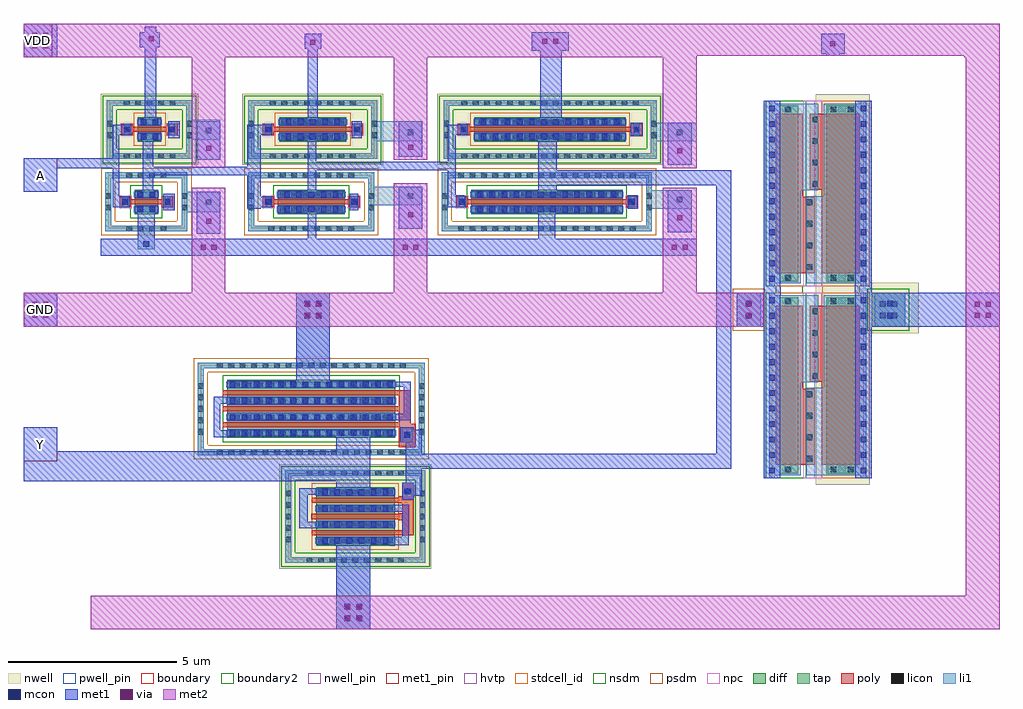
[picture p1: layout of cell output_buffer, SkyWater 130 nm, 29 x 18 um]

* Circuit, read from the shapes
.subckt output_buffer A GND VDD Y
XM1 sky130_fd_pr__nfet_01v8_24CRNP_3/D A GND GND sky130_fd_pr__nfet_01v8 w=0.7 l=0.15
XM2 GND sky130_fd_pr__nfet_01v8_JPVZFC_7/D Y GND sky130_fd_pr__nfet_01v8 w=5 l=0.15 m=3
XM3 sky130_fd_pr__nfet_01v8_NK2ZG9_5/D sky130_fd_pr__nfet_01v8_24CRNP_3/D GND GND sky130_fd_pr__nfet_01v8 w=2 l=0.15
XM4 sky130_fd_pr__nfet_01v8_JPVZFC_7/D sky130_fd_pr__nfet_01v8_NK2ZG9_5/D GND GND sky130_fd_pr__nfet_01v8 w=4.5 l=0.15
XM5 GND VDD GND GND sky130_fd_pr__nfet_01v8 w=0.55 l=4.73 m=2
XM6 VDD A sky130_fd_pr__nfet_01v8_24CRNP_3/D VDD sky130_fd_pr__pfet_01v8 w=0.7 l=0.15
XM7 VDD sky130_fd_pr__nfet_01v8_24CRNP_3/D sky130_fd_pr__nfet_01v8_NK2ZG9_5/D VDD sky130_fd_pr__pfet_01v8 w=2 l=0.15
XM8 Y sky130_fd_pr__nfet_01v8_JPVZFC_7/D VDD VDD sky130_fd_pr__pfet_01v8 w=2.33 l=0.15 m=3
XM9 VDD sky130_fd_pr__nfet_01v8_NK2ZG9_5/D sky130_fd_pr__nfet_01v8_JPVZFC_7/D VDD sky130_fd_pr__pfet_01v8 w=4.5 l=0.15
XM10 VDD GND VDD VDD sky130_fd_pr__pfet_01v8_hvt w=0.87 l=4.73 m=2
.ends

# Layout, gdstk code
from math import pi, radians
import gdstk
lib = gdstk.Library(unit=1e-6, precision=1e-09)
def R(c, l, rs):  # rectangles x0, y0, x1, y1
    for r in rs: c.add(gdstk.rectangle(r[:2], r[2:], *l))
def A(c, l, x, y, w, h, nx, ny, dx, dy):  # array of equal rectangles
    R(c, l, [(x+i*dx, y+j*dy, x+i*dx+w, y+j*dy+h) for i in range(nx) for j in range(ny)])
def P(c, l, *ps):  # polygons
    for p in ps: c.add(gdstk.Polygon(p, *l))
nwell_pin = (64, 16)
nwell = (64, 20)
diff = (65, 20)
tap = (65, 44)
poly = (66, 20)
licon = (66, 44)
li1 = (67, 20)
mcon = (67, 44)
met1_pin = (68, 16)
met1 = (68, 20)
via = (68, 44)
met2 = (69, 20)
hvtp = (78, 44)
stdcell_id = (81, 4)
nsdm = (93, 44)
psdm = (94, 20)
npc = (95, 20)
pwell_pin = (122, 16)
boundary = (235, 4)
boundary2 = (236, 0)

sky130_fd_pr__nfet_01v8_ = lib.new_cell('sky130_fd_pr__nfet_01v8_EUVAEG')
R(sky130_fd_pr__nfet_01v8_, diff, [(-0.865,-2.5,0.865,2.5)])
R(sky130_fd_pr__nfet_01v8_, tap, [(-1.375,-3.37,1.375,-3.2), (-1.375,-3.2,-1.205,3.2), (1.205,-3.2,1.375,3.2), (-1.375,3.2,1.375,3.37)])
A(sky130_fd_pr__nfet_01v8_, poly, -0.555, -2.6, 0.15, 5.23, 3, 1, 0.48, 0)
R(sky130_fd_pr__nfet_01v8_, poly, [(-1.145,-3.1,-0.445,-2.95), (-1.145,-2.95,0.555,-2.6)])
A(sky130_fd_pr__nfet_01v8_, licon, -0.765, -3.37, 0.17, 0.17, 5, 2, 0.34, 6.57)
A(sky130_fd_pr__nfet_01v8_, licon, -1.375, -2.805, 0.17, 0.17, 1, 17, 0, 0.34)
A(sky130_fd_pr__nfet_01v8_, licon, 1.205, -2.805, 0.17, 0.17, 1, 17, 0, 0.34)
A(sky130_fd_pr__nfet_01v8_, licon, -0.805, -2.295, 0.17, 0.17, 4, 14, 0.48, 0.34)
R(sky130_fd_pr__nfet_01v8_, licon, [(-0.855,-2.935,-0.685,-2.765)])
A(sky130_fd_pr__nfet_01v8_, li1, -0.805, -2.52, 0.17, 5.04, 4, 1, 0.48, 0)
R(sky130_fd_pr__nfet_01v8_, li1, [(-1.375,-3.37,1.375,-3.2), (-1.375,-3.2,-1.205,3.2), (1.205,-3.2,1.375,3.2), (-0.995,-3,-0.545,-2.7), (-1.375,3.2,1.375,3.37)])
A(sky130_fd_pr__nfet_01v8_, mcon, -0.805, -2.425, 0.17, 0.17, 4, 14, 0.48, 0.36)
R(sky130_fd_pr__nfet_01v8_, mcon, [(-0.855,-2.935,-0.685,-2.765)])
A(sky130_fd_pr__nfet_01v8_, met1, -0.835, -2.5, 0.23, 5, 4, 1, 0.48, 0)
R(sky130_fd_pr__nfet_01v8_, met1, [(-0.995,-3.05,-0.545,-2.65), (-0.345,-2.95,0.805,-2.75), (-0.345,-2.75,-0.145,-2.5), (0.655,-2.75,0.805,-2.5), (-0.845,2.5,-0.645,2.7), (0.155,2.5,0.355,2.7), (-0.845,2.7,0.355,2.9)])
R(sky130_fd_pr__nfet_01v8_, nsdm, [(-0.99,-2.625,0.99,2.625)])
R(sky130_fd_pr__nfet_01v8_, psdm, [(-1.5,-3.495,1.5,-3.075), (-1.5,-3.075,-1.08,3.075), (1.08,-3.075,1.5,3.075), (-1.5,3.075,1.5,3.495)])
R(sky130_fd_pr__nfet_01v8_, npc, [(-0.955,-3.035,-0.585,-2.665)])
R(sky130_fd_pr__nfet_01v8_, boundary, [(-1.29,-3.285,1.29,3.285)])
sky130_fd_pr__nfet_01v8_.add(gdstk.Label('B', (0,-3.285), layer=67, texttype=5))
sky130_fd_pr__nfet_01v8_.add(gdstk.Label('D0', (-0.72,0), layer=67, texttype=5))
sky130_fd_pr__nfet_01v8_.add(gdstk.Label('S1', (-0.24,0), layer=67, texttype=5))
sky130_fd_pr__nfet_01v8_.add(gdstk.Label('D2', (0.24,0), layer=67, texttype=5))
sky130_fd_pr__nfet_01v8_.add(gdstk.Label('S2', (0.72,0), layer=67, texttype=5))

sky130_fd_pr__pfet_01v8_ = lib.new_cell('sky130_fd_pr__pfet_01v8_FRYS2W')
R(sky130_fd_pr__pfet_01v8_, nwell, [(-1.555,-2.26,1.555,2.26)])
R(sky130_fd_pr__pfet_01v8_, diff, [(-0.865,-1.165,0.865,1.165)])
R(sky130_fd_pr__pfet_01v8_, tap, [(-1.375,-2.08,1.375,-1.91), (-1.375,-1.91,-1.205,1.91), (1.205,-1.91,1.375,1.91), (-1.375,1.91,1.375,2.08)])
R(sky130_fd_pr__pfet_01v8_, poly, [(-0.555,-1.74,0.995,-1.39), (-0.555,-1.39,-0.405,1.295), (-0.105,-1.39,0.095,-1.29), (0.395,-1.39,0.595,-1.29), (-0.075,-1.29,0.075,1.31), (0.405,-1.29,0.555,1.295)])
A(sky130_fd_pr__pfet_01v8_, licon, -0.765, -2.08, 0.17, 0.17, 5, 2, 0.34, 3.99)
A(sky130_fd_pr__pfet_01v8_, licon, -1.375, -1.445, 0.17, 0.17, 1, 9, 0, 0.34)
A(sky130_fd_pr__pfet_01v8_, licon, 1.205, -1.445, 0.17, 0.17, 1, 9, 0, 0.34)
A(sky130_fd_pr__pfet_01v8_, licon, -0.805, -1.105, 0.17, 0.17, 4, 7, 0.48, 0.34)
R(sky130_fd_pr__pfet_01v8_, licon, [(0.665,-1.665,0.835,-1.495)])
A(sky130_fd_pr__pfet_01v8_, li1, -0.805, -1.185, 0.17, 2.37, 4, 1, 0.48, 0)
R(sky130_fd_pr__pfet_01v8_, li1, [(-1.375,-2.08,1.375,-1.91), (-1.375,-1.91,-1.205,1.91), (1.205,-1.91,1.375,1.91), (0.495,-1.74,0.995,-1.39), (-1.375,1.91,1.375,2.08)])
A(sky130_fd_pr__pfet_01v8_, mcon, -0.805, -0.985, 0.17, 0.17, 4, 6, 0.48, 0.36)
R(sky130_fd_pr__pfet_01v8_, mcon, [(0.66,-1.625,0.83,-1.455)])
R(sky130_fd_pr__pfet_01v8_, met1, [(0.495,-1.74,0.995,-1.39), (-0.855,-1.59,0.345,-1.39), (-0.855,-1.39,-0.605,-1.04), (0.145,-1.39,0.345,-1.165), (-0.355,-1.165,-0.125,1.165), (0.125,-1.165,0.355,1.165), (0.605,-1.165,0.835,1.16), (-0.835,-1.04,-0.605,1.165), (0.605,1.16,0.845,1.165), (-0.355,1.165,-0.155,1.41), (0.645,1.165,0.845,1.41), (-0.355,1.41,0.845,1.66)])
R(sky130_fd_pr__pfet_01v8_, nsdm, [(-1.5,-2.205,1.5,-1.785), (-1.5,-1.785,-1.08,1.785), (1.08,-1.785,1.5,1.785), (-1.5,1.785,1.5,2.205)])
R(sky130_fd_pr__pfet_01v8_, psdm, [(-0.99,-1.29,0.99,1.29)])
R(sky130_fd_pr__pfet_01v8_, npc, [(0.565,-1.765,0.935,-1.395)])
R(sky130_fd_pr__pfet_01v8_, boundary, [(-1.29,-1.995,1.29,1.995)])
sky130_fd_pr__pfet_01v8_.add(gdstk.Label('B', (0,-1.995), layer=67, texttype=5))
sky130_fd_pr__pfet_01v8_.add(gdstk.Label('D0', (-0.72,0), layer=67, texttype=5))
sky130_fd_pr__pfet_01v8_.add(gdstk.Label('S1', (-0.24,0), layer=67, texttype=5))
sky130_fd_pr__pfet_01v8_.add(gdstk.Label('D2', (0.24,0), layer=67, texttype=5))
sky130_fd_pr__pfet_01v8_.add(gdstk.Label('S2', (0.72,0), layer=67, texttype=5))

sky130_fd_sc_hd__decap_1 = lib.new_cell('sky130_fd_sc_hd__decap_12')
R(sky130_fd_sc_hd__decap_1, nwell_pin, [(0.145,2.635,0.315,2.805)])
R(sky130_fd_sc_hd__decap_1, nwell, [(-0.19,1.305,5.71,2.91)])
R(sky130_fd_sc_hd__decap_1, diff, [(0.135,0.235,5.385,0.785), (0.135,1.615,5.385,2.485)])
P(sky130_fd_sc_hd__decap_1, poly, [(5.125,2.615),(0.395,2.615),(0.395,1.125),(2.645,1.125),(2.645,1.485),(5.125,1.485)],
  [(5.125,1.275),(2.855,1.275),(2.855,0.915),(0.395,0.915),(0.395,0.105),(5.125,0.105)])
A(sky130_fd_sc_hd__decap_1, licon, 2.935, 1.025, 0.17, 0.17, 4, 1, 0.64, 0)
A(sky130_fd_sc_hd__decap_1, licon, 0.475, 1.205, 0.17, 0.17, 4, 1, 0.64, 0)
R(sky130_fd_sc_hd__decap_1, licon, [(0.175,0.39,0.345,0.56), (5.175,0.39,5.345,0.56), (0.175,1.745,0.345,1.915), (5.175,1.745,5.345,1.915), (0.175,2.255,0.345,2.425), (5.175,2.255,5.345,2.425)])
P(sky130_fd_sc_hd__decap_1, li1, [(5.52,0.085),(5.43,0.085),(5.43,0.855),(2.665,0.855),(2.665,1.375),(0.085,1.375),(0.085,0.085),(0,0.085),(0,-0.085),(5.52,-0.085)],
  [(5.52,2.805),(0,2.805),(0,2.635),(0.085,2.635),(0.085,1.545),(2.835,1.545),(2.835,1.025),(5.43,1.025),(5.43,2.635),(5.52,2.635)])
A(sky130_fd_sc_hd__decap_1, mcon, 0.145, -0.085, 0.17, 0.17, 12, 2, 0.46, 2.72)
R(sky130_fd_sc_hd__decap_1, met1_pin, [(0.145,-0.085,0.315,0.085), (0.145,2.635,0.315,2.805)])
R(sky130_fd_sc_hd__decap_1, hvtp, [(0,1.25,5.52,2.72)])
R(sky130_fd_sc_hd__decap_1, stdcell_id, [(0,0,5.52,2.72)])
R(sky130_fd_sc_hd__decap_1, nsdm, [(0,-0.19,5.52,1.015)])
R(sky130_fd_sc_hd__decap_1, psdm, [(0,1.485,5.52,2.91)])
R(sky130_fd_sc_hd__decap_1, npc, [(0,0.925,5.52,1.475)])
R(sky130_fd_sc_hd__decap_1, pwell_pin, [(0.145,-0.085,0.315,0.085)])
R(sky130_fd_sc_hd__decap_1, boundary2, [(0,0,5.52,2.72)])
sky130_fd_sc_hd__decap_1.add(gdstk.FlexPath([(0,2.72),(5.52,2.72)], 0.48, ends="flush", simple_path=True, layer=68, datatype=20))  # met1
sky130_fd_sc_hd__decap_1.add(gdstk.FlexPath([(0,0),(5.52,0)], 0.48, ends="flush", simple_path=True, layer=68, datatype=20))  # met1
sky130_fd_sc_hd__decap_1.add(gdstk.Label('VGND', (0.23,0), layer=68, texttype=5))
sky130_fd_sc_hd__decap_1.add(gdstk.Label('VPWR', (0.23,2.72), layer=68, texttype=5))
sky130_fd_sc_hd__decap_1.add(gdstk.Label('VPB', (0.23,2.72), layer=64, texttype=5))
sky130_fd_sc_hd__decap_1.add(gdstk.Label('VNB', (0.23,0), layer=64, texttype=59))
sky130_fd_sc_hd__decap_1.add(gdstk.Label('decap_12', (0,0), layer=83, texttype=44))

c_sky130_fd_pr__nfet_01v8_ = lib.new_cell('sky130_fd_pr__nfet_01v8_24CRNP')
R(c_sky130_fd_pr__nfet_01v8_, diff, [(-0.365,-0.35,0.365,0.35)])
R(c_sky130_fd_pr__nfet_01v8_, tap, [(-0.875,-1.22,0.875,-1.05), (-0.875,-1.05,-0.705,1.05), (0.705,-1.05,0.875,1.05), (-0.875,1.05,0.875,1.22)])
R(c_sky130_fd_pr__nfet_01v8_, poly, [(-0.165,-0.79,0.165,-0.46), (-0.075,-0.46,0.075,0.46), (-0.165,0.46,0.165,0.79)])
A(c_sky130_fd_pr__nfet_01v8_, licon, -0.875, -0.595, 0.17, 0.17, 1, 4, 0, 0.34)
A(c_sky130_fd_pr__nfet_01v8_, licon, 0.705, -0.595, 0.17, 0.17, 1, 4, 0, 0.34)
R(c_sky130_fd_pr__nfet_01v8_, licon, [(-0.255,-1.22,-0.085,-1.05), (0.085,-1.22,0.255,-1.05), (-0.085,-0.71,0.085,-0.54), (-0.305,-0.255,-0.135,-0.085), (0.135,-0.255,0.305,-0.085), (-0.305,0.085,-0.135,0.255), (0.135,0.085,0.305,0.255), (-0.085,0.54,0.085,0.71), (-0.255,1.05,-0.085,1.22), (0.085,1.05,0.255,1.22)])
R(c_sky130_fd_pr__nfet_01v8_, li1, [(-0.875,-1.22,0.875,-1.05), (-0.875,-1.05,-0.705,1.05), (0.705,-1.05,0.875,1.05), (-0.165,-0.71,0.165,-0.54), (-0.305,-0.37,-0.135,0.37), (0.135,-0.37,0.305,0.37), (-0.165,0.54,0.165,0.71), (-0.875,1.05,0.875,1.22)])
R(c_sky130_fd_pr__nfet_01v8_, mcon, [(-0.085,-0.71,0.085,-0.54), (-0.305,-0.265,-0.135,-0.095), (0.135,-0.265,0.305,-0.095), (-0.305,0.095,-0.135,0.265), (0.135,0.095,0.305,0.265), (-0.085,0.54,0.085,0.71)])
R(c_sky130_fd_pr__nfet_01v8_, met1, [(-0.145,-0.74,0.145,-0.51), (-0.335,-0.35,-0.105,0.35), (0.105,-0.35,0.335,0.35), (-0.145,0.51,0.145,0.74)])
R(c_sky130_fd_pr__nfet_01v8_, nsdm, [(-0.49,-0.475,0.49,0.475)])
R(c_sky130_fd_pr__nfet_01v8_, psdm, [(-1,-1.345,1,-0.925), (-1,-0.925,-0.58,0.925), (0.58,-0.925,1,0.925), (-1,0.925,1,1.345)])
R(c_sky130_fd_pr__nfet_01v8_, npc, [(-0.185,-0.81,0.185,-0.44), (-0.185,0.44,0.185,0.81)])
R(c_sky130_fd_pr__nfet_01v8_, boundary, [(-0.79,-1.135,0.79,1.135)])
c_sky130_fd_pr__nfet_01v8_.add(gdstk.Label('B', (0,-1.135), layer=67, texttype=5))
c_sky130_fd_pr__nfet_01v8_.add(gdstk.Label('D', (-0.22,0), layer=67, texttype=5))
c_sky130_fd_pr__nfet_01v8_.add(gdstk.Label('S', (0.22,0), layer=67, texttype=5))
c_sky130_fd_pr__nfet_01v8_.add(gdstk.Label('G', (0,0.625), layer=67, texttype=5))

c_sky130_fd_pr__pfet_01v8_ = lib.new_cell('sky130_fd_pr__pfet_01v8_DJSDVV')
R(c_sky130_fd_pr__pfet_01v8_, nwell, [(-1.055,-1.445,1.055,1.445)])
R(c_sky130_fd_pr__pfet_01v8_, diff, [(-0.365,-0.35,0.365,0.35)])
R(c_sky130_fd_pr__pfet_01v8_, tap, [(-0.875,-1.265,0.875,-1.095), (-0.875,-1.095,-0.705,1.095), (0.705,-1.095,0.875,1.095), (-0.875,1.095,0.875,1.265)])
R(c_sky130_fd_pr__pfet_01v8_, poly, [(-0.165,-0.835,0.165,-0.505), (-0.075,-0.505,0.075,0.505), (-0.165,0.505,0.165,0.835)])
A(c_sky130_fd_pr__pfet_01v8_, licon, -0.875, -0.765, 0.17, 0.17, 1, 5, 0, 0.34)
A(c_sky130_fd_pr__pfet_01v8_, licon, 0.705, -0.765, 0.17, 0.17, 1, 5, 0, 0.34)
R(c_sky130_fd_pr__pfet_01v8_, licon, [(-0.255,-1.265,-0.085,-1.095), (0.085,-1.265,0.255,-1.095), (-0.085,-0.755,0.085,-0.585), (-0.305,-0.255,-0.135,-0.085), (0.135,-0.255,0.305,-0.085), (-0.305,0.085,-0.135,0.255), (0.135,0.085,0.305,0.255), (-0.085,0.585,0.085,0.755), (-0.255,1.095,-0.085,1.265), (0.085,1.095,0.255,1.265)])
R(c_sky130_fd_pr__pfet_01v8_, li1, [(-0.875,-1.265,0.875,-1.095), (-0.875,-1.095,-0.705,1.095), (0.705,-1.095,0.875,1.095), (-0.165,-0.755,0.165,-0.585), (-0.305,-0.37,-0.135,0.37), (0.135,-0.37,0.305,0.37), (-0.165,0.585,0.165,0.755), (-0.875,1.095,0.875,1.265)])
R(c_sky130_fd_pr__pfet_01v8_, mcon, [(-0.085,-0.755,0.085,-0.585), (-0.305,-0.265,-0.135,-0.095), (0.135,-0.265,0.305,-0.095), (-0.305,0.095,-0.135,0.265), (0.135,0.095,0.305,0.265), (-0.085,0.585,0.085,0.755)])
R(c_sky130_fd_pr__pfet_01v8_, met1, [(-0.145,-0.785,0.145,-0.555), (-0.335,-0.35,-0.105,0.35), (0.105,-0.35,0.335,0.35), (-0.145,0.555,0.145,0.785)])
R(c_sky130_fd_pr__pfet_01v8_, nsdm, [(-1,-1.39,1,-0.97), (-1,-0.97,-0.58,0.97), (0.58,-0.97,1,0.97), (-1,0.97,1,1.39)])
R(c_sky130_fd_pr__pfet_01v8_, psdm, [(-0.49,-0.475,0.49,0.475)])
R(c_sky130_fd_pr__pfet_01v8_, npc, [(-0.185,-0.855,0.185,-0.485), (-0.185,0.485,0.185,0.855)])
R(c_sky130_fd_pr__pfet_01v8_, boundary, [(-0.79,-1.18,0.79,1.18)])
c_sky130_fd_pr__pfet_01v8_.add(gdstk.Label('B', (0,-1.18), layer=67, texttype=5))
c_sky130_fd_pr__pfet_01v8_.add(gdstk.Label('D', (-0.22,0), layer=67, texttype=5))
c_sky130_fd_pr__pfet_01v8_.add(gdstk.Label('S', (0.22,0), layer=67, texttype=5))
c_sky130_fd_pr__pfet_01v8_.add(gdstk.Label('G', (0,0.67), layer=67, texttype=5))

c_sky130_fd_pr__nfet_01v8__ = lib.new_cell('sky130_fd_pr__nfet_01v8_NK2ZG9')
R(c_sky130_fd_pr__nfet_01v8__, diff, [(-0.365,-1,0.365,1)])
R(c_sky130_fd_pr__nfet_01v8__, tap, [(-0.875,-1.87,0.875,-1.7), (-0.875,-1.7,-0.705,1.7), (0.705,-1.7,0.875,1.7), (-0.875,1.7,0.875,1.87)])
R(c_sky130_fd_pr__nfet_01v8__, poly, [(-0.165,-1.44,0.165,-1.11), (-0.075,-1.11,0.075,1.11), (-0.165,1.11,0.165,1.44)])
A(c_sky130_fd_pr__nfet_01v8__, licon, -0.875, -1.275, 0.17, 0.17, 1, 8, 0, 0.34)
A(c_sky130_fd_pr__nfet_01v8__, licon, 0.705, -1.275, 0.17, 0.17, 1, 8, 0, 0.34)
A(c_sky130_fd_pr__nfet_01v8__, licon, -0.305, -0.935, 0.17, 0.17, 1, 6, 0, 0.34)
A(c_sky130_fd_pr__nfet_01v8__, licon, 0.135, -0.935, 0.17, 0.17, 1, 6, 0, 0.34)
R(c_sky130_fd_pr__nfet_01v8__, licon, [(-0.255,-1.87,-0.085,-1.7), (0.085,-1.87,0.255,-1.7), (-0.085,-1.36,0.085,-1.19), (-0.085,1.19,0.085,1.36), (-0.255,1.7,-0.085,1.87), (0.085,1.7,0.255,1.87)])
R(c_sky130_fd_pr__nfet_01v8__, li1, [(-0.875,-1.87,0.875,-1.7), (-0.875,-1.7,-0.705,1.7), (0.705,-1.7,0.875,1.7), (-0.165,-1.36,0.165,-1.19), (-0.305,-1.02,-0.135,1.02), (0.135,-1.02,0.305,1.02), (-0.165,1.19,0.165,1.36), (-0.875,1.7,0.875,1.87)])
A(c_sky130_fd_pr__nfet_01v8__, mcon, -0.305, -0.805, 0.17, 0.17, 1, 5, 0, 0.36)
A(c_sky130_fd_pr__nfet_01v8__, mcon, 0.135, -0.805, 0.17, 0.17, 1, 5, 0, 0.36)
R(c_sky130_fd_pr__nfet_01v8__, mcon, [(-0.085,-1.36,0.085,-1.19), (-0.085,1.19,0.085,1.36)])
R(c_sky130_fd_pr__nfet_01v8__, met1, [(-0.145,-1.39,0.145,-1.16), (-0.335,-1,-0.105,1), (0.105,-1,0.335,1), (-0.145,1.16,0.145,1.39)])
R(c_sky130_fd_pr__nfet_01v8__, nsdm, [(-0.49,-1.125,0.49,1.125)])
R(c_sky130_fd_pr__nfet_01v8__, psdm, [(-1,-1.995,1,-1.575), (-1,-1.575,-0.58,1.575), (0.58,-1.575,1,1.575), (-1,1.575,1,1.995)])
R(c_sky130_fd_pr__nfet_01v8__, npc, [(-0.185,-1.46,0.185,-1.09), (-0.185,1.09,0.185,1.46)])
R(c_sky130_fd_pr__nfet_01v8__, boundary, [(-0.79,-1.785,0.79,1.785)])
c_sky130_fd_pr__nfet_01v8__.add(gdstk.Label('B', (0,-1.785), layer=67, texttype=5))
c_sky130_fd_pr__nfet_01v8__.add(gdstk.Label('D', (-0.22,0), layer=67, texttype=5))
c_sky130_fd_pr__nfet_01v8__.add(gdstk.Label('S', (0.22,0), layer=67, texttype=5))
c_sky130_fd_pr__nfet_01v8__.add(gdstk.Label('G', (0,1.275), layer=67, texttype=5))

c_sky130_fd_pr__pfet_01v8__ = lib.new_cell('sky130_fd_pr__pfet_01v8_VJT448')
R(c_sky130_fd_pr__pfet_01v8__, nwell, [(-1.055,-2.095,1.055,2.095)])
R(c_sky130_fd_pr__pfet_01v8__, diff, [(-0.365,-1,0.365,1)])
R(c_sky130_fd_pr__pfet_01v8__, tap, [(-0.875,-1.915,0.875,-1.745), (-0.875,-1.745,-0.705,1.745), (0.705,-1.745,0.875,1.745), (-0.875,1.745,0.875,1.915)])
R(c_sky130_fd_pr__pfet_01v8__, poly, [(-0.165,-1.485,0.165,-1.155), (-0.075,-1.155,0.075,1.155), (-0.165,1.155,0.165,1.485)])
A(c_sky130_fd_pr__pfet_01v8__, licon, -0.875, -1.275, 0.17, 0.17, 1, 8, 0, 0.34)
A(c_sky130_fd_pr__pfet_01v8__, licon, 0.705, -1.275, 0.17, 0.17, 1, 8, 0, 0.34)
A(c_sky130_fd_pr__pfet_01v8__, licon, -0.305, -0.935, 0.17, 0.17, 1, 6, 0, 0.34)
A(c_sky130_fd_pr__pfet_01v8__, licon, 0.135, -0.935, 0.17, 0.17, 1, 6, 0, 0.34)
R(c_sky130_fd_pr__pfet_01v8__, licon, [(-0.255,-1.915,-0.085,-1.745), (0.085,-1.915,0.255,-1.745), (-0.085,-1.405,0.085,-1.235), (-0.085,1.235,0.085,1.405), (-0.255,1.745,-0.085,1.915), (0.085,1.745,0.255,1.915)])
R(c_sky130_fd_pr__pfet_01v8__, li1, [(-0.875,-1.915,0.875,-1.745), (-0.875,-1.745,-0.705,1.745), (0.705,-1.745,0.875,1.745), (-0.165,-1.405,0.165,-1.235), (-0.305,-1.02,-0.135,1.02), (0.135,-1.02,0.305,1.02), (-0.165,1.235,0.165,1.405), (-0.875,1.745,0.875,1.915)])
A(c_sky130_fd_pr__pfet_01v8__, mcon, -0.305, -0.805, 0.17, 0.17, 1, 5, 0, 0.36)
A(c_sky130_fd_pr__pfet_01v8__, mcon, 0.135, -0.805, 0.17, 0.17, 1, 5, 0, 0.36)
R(c_sky130_fd_pr__pfet_01v8__, mcon, [(-0.085,-1.405,0.085,-1.235), (-0.085,1.235,0.085,1.405)])
R(c_sky130_fd_pr__pfet_01v8__, met1, [(-0.145,-1.435,0.145,-1.205), (-0.335,-1,-0.105,1), (0.105,-1,0.335,1), (-0.145,1.205,0.145,1.435)])
R(c_sky130_fd_pr__pfet_01v8__, nsdm, [(-1,-2.04,1,-1.62), (-1,-1.62,-0.58,1.62), (0.58,-1.62,1,1.62), (-1,1.62,1,2.04)])
R(c_sky130_fd_pr__pfet_01v8__, psdm, [(-0.49,-1.125,0.49,1.125)])
R(c_sky130_fd_pr__pfet_01v8__, npc, [(-0.185,-1.505,0.185,-1.135), (-0.185,1.135,0.185,1.505)])
R(c_sky130_fd_pr__pfet_01v8__, boundary, [(-0.79,-1.83,0.79,1.83)])
c_sky130_fd_pr__pfet_01v8__.add(gdstk.Label('B', (0,-1.83), layer=67, texttype=5))
c_sky130_fd_pr__pfet_01v8__.add(gdstk.Label('D', (-0.22,0), layer=67, texttype=5))
c_sky130_fd_pr__pfet_01v8__.add(gdstk.Label('S', (0.22,0), layer=67, texttype=5))
c_sky130_fd_pr__pfet_01v8__.add(gdstk.Label('G', (0,1.32), layer=67, texttype=5))

c_sky130_fd_pr__nfet_01v8___ = lib.new_cell('sky130_fd_pr__nfet_01v8_JPVZFC')
R(c_sky130_fd_pr__nfet_01v8___, diff, [(-0.365,-2.25,0.365,2.25)])
R(c_sky130_fd_pr__nfet_01v8___, tap, [(-0.875,-3.12,0.875,-2.95), (-0.875,-2.95,-0.705,2.95), (0.705,-2.95,0.875,2.95), (-0.875,2.95,0.875,3.12)])
R(c_sky130_fd_pr__nfet_01v8___, poly, [(-0.165,-2.69,0.165,-2.36), (-0.075,-2.36,0.075,2.36), (-0.165,2.36,0.165,2.69)])
A(c_sky130_fd_pr__nfet_01v8___, licon, -0.875, -2.635, 0.17, 0.17, 1, 16, 0, 0.34)
A(c_sky130_fd_pr__nfet_01v8___, licon, 0.705, -2.635, 0.17, 0.17, 1, 16, 0, 0.34)
A(c_sky130_fd_pr__nfet_01v8___, licon, -0.305, -2.125, 0.17, 0.17, 1, 13, 0, 0.34)
A(c_sky130_fd_pr__nfet_01v8___, licon, 0.135, -2.125, 0.17, 0.17, 1, 13, 0, 0.34)
R(c_sky130_fd_pr__nfet_01v8___, licon, [(-0.255,-3.12,-0.085,-2.95), (0.085,-3.12,0.255,-2.95), (-0.085,-2.61,0.085,-2.44), (-0.085,2.44,0.085,2.61), (-0.255,2.95,-0.085,3.12), (0.085,2.95,0.255,3.12)])
R(c_sky130_fd_pr__nfet_01v8___, li1, [(-0.875,-3.12,0.875,-2.95), (-0.875,-2.95,-0.705,2.95), (0.705,-2.95,0.875,2.95), (-0.165,-2.61,0.165,-2.44), (-0.305,-2.27,-0.135,2.27), (0.135,-2.27,0.305,2.27), (-0.165,2.44,0.165,2.61), (-0.875,2.95,0.875,3.12)])
A(c_sky130_fd_pr__nfet_01v8___, mcon, -0.305, -2.065, 0.17, 0.17, 1, 12, 0, 0.36)
A(c_sky130_fd_pr__nfet_01v8___, mcon, 0.135, -2.065, 0.17, 0.17, 1, 12, 0, 0.36)
R(c_sky130_fd_pr__nfet_01v8___, mcon, [(-0.085,-2.61,0.085,-2.44), (-0.085,2.44,0.085,2.61)])
R(c_sky130_fd_pr__nfet_01v8___, met1, [(-0.145,-2.64,0.145,-2.41), (-0.335,-2.25,-0.105,2.25), (0.105,-2.25,0.335,2.25), (-0.145,2.41,0.145,2.64)])
R(c_sky130_fd_pr__nfet_01v8___, nsdm, [(-0.49,-2.375,0.49,2.375)])
R(c_sky130_fd_pr__nfet_01v8___, psdm, [(-1,-3.245,1,-2.825), (-1,-2.825,-0.58,2.825), (0.58,-2.825,1,2.825), (-1,2.825,1,3.245)])
R(c_sky130_fd_pr__nfet_01v8___, npc, [(-0.185,-2.71,0.185,-2.34), (-0.185,2.34,0.185,2.71)])
R(c_sky130_fd_pr__nfet_01v8___, boundary, [(-0.79,-3.035,0.79,3.035)])
c_sky130_fd_pr__nfet_01v8___.add(gdstk.Label('B', (0,-3.035), layer=67, texttype=5))
c_sky130_fd_pr__nfet_01v8___.add(gdstk.Label('D', (-0.22,0), layer=67, texttype=5))
c_sky130_fd_pr__nfet_01v8___.add(gdstk.Label('S', (0.22,0), layer=67, texttype=5))
c_sky130_fd_pr__nfet_01v8___.add(gdstk.Label('G', (0,2.525), layer=67, texttype=5))

c_sky130_fd_pr__pfet_01v8___ = lib.new_cell('sky130_fd_pr__pfet_01v8_YNF6CZ')
R(c_sky130_fd_pr__pfet_01v8___, nwell, [(-1.055,-3.345,1.055,3.345)])
R(c_sky130_fd_pr__pfet_01v8___, diff, [(-0.365,-2.25,0.365,2.25)])
R(c_sky130_fd_pr__pfet_01v8___, tap, [(-0.875,-3.165,0.875,-2.995), (-0.875,-2.995,-0.705,2.995), (0.705,-2.995,0.875,2.995), (-0.875,2.995,0.875,3.165)])
R(c_sky130_fd_pr__pfet_01v8___, poly, [(-0.165,-2.735,0.165,-2.405), (-0.075,-2.405,0.075,2.405), (-0.165,2.405,0.165,2.735)])
A(c_sky130_fd_pr__pfet_01v8___, licon, -0.875, -2.635, 0.17, 0.17, 1, 16, 0, 0.34)
A(c_sky130_fd_pr__pfet_01v8___, licon, 0.705, -2.635, 0.17, 0.17, 1, 16, 0, 0.34)
A(c_sky130_fd_pr__pfet_01v8___, licon, -0.305, -2.125, 0.17, 0.17, 1, 13, 0, 0.34)
A(c_sky130_fd_pr__pfet_01v8___, licon, 0.135, -2.125, 0.17, 0.17, 1, 13, 0, 0.34)
R(c_sky130_fd_pr__pfet_01v8___, licon, [(-0.255,-3.165,-0.085,-2.995), (0.085,-3.165,0.255,-2.995), (-0.085,-2.655,0.085,-2.485), (-0.085,2.485,0.085,2.655), (-0.255,2.995,-0.085,3.165), (0.085,2.995,0.255,3.165)])
R(c_sky130_fd_pr__pfet_01v8___, li1, [(-0.875,-3.165,0.875,-2.995), (-0.875,-2.995,-0.705,2.995), (0.705,-2.995,0.875,2.995), (-0.165,-2.655,0.165,-2.485), (-0.305,-2.27,-0.135,2.27), (0.135,-2.27,0.305,2.27), (-0.165,2.485,0.165,2.655), (-0.875,2.995,0.875,3.165)])
A(c_sky130_fd_pr__pfet_01v8___, mcon, -0.305, -2.065, 0.17, 0.17, 1, 12, 0, 0.36)
A(c_sky130_fd_pr__pfet_01v8___, mcon, 0.135, -2.065, 0.17, 0.17, 1, 12, 0, 0.36)
R(c_sky130_fd_pr__pfet_01v8___, mcon, [(-0.085,-2.655,0.085,-2.485), (-0.085,2.485,0.085,2.655)])
R(c_sky130_fd_pr__pfet_01v8___, met1, [(-0.145,-2.685,0.145,-2.455), (-0.335,-2.25,-0.105,2.25), (0.105,-2.25,0.335,2.25), (-0.145,2.455,0.145,2.685)])
R(c_sky130_fd_pr__pfet_01v8___, nsdm, [(-1,-3.29,1,-2.87), (-1,-2.87,-0.58,2.87), (0.58,-2.87,1,2.87), (-1,2.87,1,3.29)])
R(c_sky130_fd_pr__pfet_01v8___, psdm, [(-0.49,-2.375,0.49,2.375)])
R(c_sky130_fd_pr__pfet_01v8___, npc, [(-0.185,-2.755,0.185,-2.385), (-0.185,2.385,0.185,2.755)])
R(c_sky130_fd_pr__pfet_01v8___, boundary, [(-0.79,-3.08,0.79,3.08)])
c_sky130_fd_pr__pfet_01v8___.add(gdstk.Label('B', (0,-3.08), layer=67, texttype=5))
c_sky130_fd_pr__pfet_01v8___.add(gdstk.Label('D', (-0.22,0), layer=67, texttype=5))
c_sky130_fd_pr__pfet_01v8___.add(gdstk.Label('S', (0.22,0), layer=67, texttype=5))
c_sky130_fd_pr__pfet_01v8___.add(gdstk.Label('G', (0,2.57), layer=67, texttype=5))

output_buffer = lib.new_cell('output_buffer')
R(output_buffer, nwell, [(20.1,-13.2,21.6,-11.7)])
R(output_buffer, tap, [(16.2,-13,16.9,-12), (20.2,-13,21.2,-12)])
R(output_buffer, licon, [(16.465,-12.755,16.635,-12.585), (20.445,-12.755,20.615,-12.585), (20.785,-12.755,20.955,-12.585), (16.465,-12.415,16.635,-12.245), (20.445,-12.415,20.615,-12.245), (20.785,-12.415,20.955,-12.245)])
R(output_buffer, li1, [(4.3,-22,5.3,-19.9), (3.1,-14.2,4.1,-12), (16.2,-13,16.9,-12), (20.3,-13,21.2,-12), (-1.6,-10.7,-1.1,-10), (-0.15,-9.6,0.85,-9), (13.65,-9.5,14.85,-8.95), (5.4,-9.4,6.85,-8.85), (5.5,-7.5,6.85,-6.9), (13.8,-7.5,15,-6.95), (-0.15,-7.45,0.85,-6.85)])
R(output_buffer, mcon, [(4.535,-21.765,4.705,-21.595), (4.895,-21.765,5.065,-21.595), (4.535,-21.405,4.705,-21.235), (4.895,-21.405,5.065,-21.235), (3.335,-12.765,3.505,-12.595), (3.695,-12.765,3.865,-12.595), (16.465,-12.765,16.635,-12.595), (20.665,-12.765,20.835,-12.595), (3.335,-12.405,3.505,-12.235), (3.695,-12.405,3.865,-12.235), (16.465,-12.405,16.635,-12.235), (20.665,-12.405,20.835,-12.235), (-1.435,-10.635,-1.265,-10.465), (0.415,-9.385,0.585,-9.215), (14.415,-9.31,14.585,-9.14), (6.415,-9.21,6.585,-9.04), (6.415,-7.31,6.585,-7.14), (14.415,-7.31,14.585,-7.14), (0.415,-7.26,0.585,-7.09)])
A(output_buffer, met1_pin, -5, -17, 1, 1, 1, 3, 0, 4)
R(output_buffer, met1_pin, [(-5,-5,-4.15,-4)])
R(output_buffer, met1, [(4.3,-22,5.3,-19.4), (6.365,-18.035,6.835,-17.22), (4.3,-17.9,5.3,-17.6), (-5,-17.6,5.3,-16.7), (6.365,-17.22,16.025,-16.775), (6.365,-16.775,6.835,-16.065), (15.58,-16.775,16.025,-8.8), (-5,-16.7,-4,-16), (4.3,-16.7,5.3,-16.2), (3.1,-14.7,4.1,-12), (-5,-13,-4,-12), (16.2,-13,17.3,-12.05), (20,-13,24,-12), (16.2,-12.05,17.5,-12), (17,-12,17.5,-11.8), (19.7,-12,20.2,-11.75), (-2.7,-10.9,15,-10.4), (-1.6,-10.4,-1.1,-9.45), (3.45,-10.4,3.7,-9.5), (10.3,-10.4,10.8,-9.5), (0.15,-10.25,0.85,-9), (14.15,-10.2,14.85,-8.95), (6.15,-10.1,6.85,-8.85), (-0.85,-9.55,-0.5,-9.05), (4.7,-9.55,4.95,-9.05), (1.65,-9.5,2.05,-9.45), (12.95,-9.5,13.25,-9.1), (-2.35,-9.45,-1.85,-9.15), (1.65,-9.45,2.35,-9.15), (7.6,-9.45,8.1,-9.1), (-2.35,-9.15,-2.15,-8.3), (1.65,-9.15,2.05,-8.5), (7.6,-9.1,7.85,-8.35), (10.3,-9.05,10.85,-8.8), (-5,-9,-4,-8.3), (-1.45,-9,-1.15,-8.5), (3.45,-9,3.7,-8.35), (10.3,-8.8,16.025,-8.35), (-1.45,-8.5,2.05,-8.25), (3.45,-8.35,7.85,-8.1), (10.3,-8.35,10.85,-7.4), (-5,-8.3,-2.15,-8), (-1.45,-8.25,-1.15,-7.45), (1.65,-8.25,2.05,-7.3), (14.15,-8.2,14.85,-6.95), (3.45,-8.1,3.7,-7.45), (7.6,-8.1,7.85,-7.3), (0.15,-8.05,0.85,-6.9), (-2.35,-8,-2.15,-7.3), (6.15,-7.95,6.85,-6.9), (-0.7,-7.4,-0.35,-6.9), (4.75,-7.4,5.05,-6.9), (13.05,-7.35,13.4,-6.95), (-2.35,-7.3,-1.8,-7), (1.65,-7.3,2.35,-7), (7.6,-7.3,8.2,-7), (10.35,-7,11,-4.8), (3.45,-6.95,3.75,-4.75), (-1.4,-6.85,-1.05,-4.7), (-5,-5,-4,-4), (18.85,-4.95,19.25,-4.9), (18.7,-4.9,19.4,-4.3), (10.1,-4.8,11.2,-4.25), (3.35,-4.75,3.85,-4.3), (-1.55,-4.7,-0.95,-4.25), (-1.4,-4.25,-1.05,-4.1)])
R(output_buffer, via, [(4.565,-21.735,4.715,-21.585), (4.885,-21.735,5.035,-21.585), (4.565,-21.415,4.715,-21.265), (4.885,-21.415,5.035,-21.265), (-4.735,-12.735,-4.585,-12.585), (-4.415,-12.735,-4.265,-12.585), (3.365,-12.735,3.515,-12.585), (3.685,-12.735,3.835,-12.585), (16.475,-12.735,16.625,-12.585), (23.265,-12.735,23.415,-12.585), (23.585,-12.735,23.735,-12.585), (-4.735,-12.415,-4.585,-12.265), (-4.415,-12.415,-4.265,-12.265), (3.365,-12.415,3.515,-12.265), (3.685,-12.415,3.835,-12.265), (16.475,-12.415,16.625,-12.265), (23.265,-12.415,23.415,-12.265), (23.585,-12.415,23.735,-12.265), (0.265,-10.725,0.415,-10.575), (0.585,-10.725,0.735,-10.575), (6.265,-10.725,6.415,-10.575), (6.585,-10.725,6.735,-10.575), (14.265,-10.725,14.415,-10.575), (14.585,-10.725,14.735,-10.575), (0.425,-9.95,0.575,-9.8), (14.425,-9.85,14.575,-9.7), (6.425,-9.75,6.575,-9.6), (14.425,-7.85,14.575,-7.7), (0.425,-7.775,0.575,-7.625), (6.425,-7.75,6.575,-7.6), (-4.735,-4.735,-4.585,-4.585), (-4.415,-4.735,-4.265,-4.585), (18.975,-4.675,19.125,-4.525), (3.525,-4.625,3.675,-4.475), (10.415,-4.6,10.565,-4.45), (10.735,-4.6,10.885,-4.45), (-1.275,-4.525,-1.125,-4.375), (-4.735,-4.415,-4.585,-4.265), (-4.415,-4.415,-4.265,-4.265)])
R(output_buffer, met2, [(-3,-22,24,-21), (23,-21,24,-5), (-5,-13,17,-12), (0,-12,1,-8.87), (6,-12,7,-8.74), (14,-12,15,-8.88), (14,-8.3,15,-5), (0,-8.29,1,-5), (6,-8.05,7,-5), (-5,-5,15,-4.95), (22.95,-5,24,-4.95), (-5,-4.95,24,-4)])
R(output_buffer, nsdm, [(20.075,-13.125,21.325,-11.875), (17.35,-11.99,18.15,-11.81)])
R(output_buffer, psdm, [(16.075,-13.125,17.025,-11.875), (18.73,-11.99,19.85,-11.81)])
output_buffer.add(gdstk.Reference(sky130_fd_pr__nfet_01v8_, (3.55,-15.445), rotation=pi/2))
output_buffer.add(gdstk.Reference(sky130_fd_pr__pfet_01v8_, (4.86,-18.645), rotation=pi/2))
output_buffer.add(gdstk.Reference(sky130_fd_sc_hd__decap_1, (17.24,-11.99), rotation=3*pi/2))
output_buffer.add(gdstk.Reference(c_sky130_fd_pr__nfet_01v8_, (-1.35,-9.295), rotation=3*pi/2))
output_buffer.add(gdstk.Reference(c_sky130_fd_pr__pfet_01v8_, (-1.255,-7.145), rotation=3*pi/2))
output_buffer.add(gdstk.Reference(c_sky130_fd_pr__nfet_01v8__, (3.55,-9.295), rotation=3*pi/2))
output_buffer.add(gdstk.Reference(c_sky130_fd_pr__pfet_01v8__, (3.595,-7.145), rotation=3*pi/2))
output_buffer.add(gdstk.Reference(c_sky130_fd_pr__nfet_01v8___, (10.55,-9.295), rotation=3*pi/2))
output_buffer.add(gdstk.Reference(c_sky130_fd_pr__pfet_01v8___, (10.645,-7.145), rotation=3*pi/2))
output_buffer.add(gdstk.Reference(sky130_fd_sc_hd__decap_1, (17.24,-6.29), rotation=3*pi/2))
output_buffer.add(gdstk.Label('Y', (-4.5,-16.5), layer=68, texttype=5))
output_buffer.add(gdstk.Label('A', (-4.5,-8.5), layer=68, texttype=5))
output_buffer.add(gdstk.Label('VDD', (-4.575,-4.5), layer=68, texttype=5))
output_buffer.add(gdstk.Label('GND', (-4.5,-12.5), layer=68, texttype=5))

lib.write_gds('output_buffer.gds')
